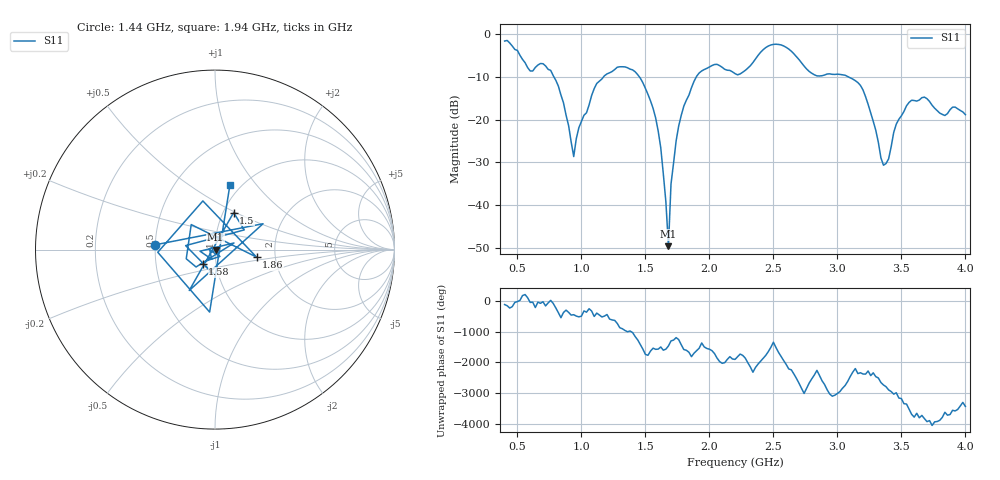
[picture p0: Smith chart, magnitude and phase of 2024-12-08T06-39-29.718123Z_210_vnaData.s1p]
!Created with skrf (http://scikit-rf.org).
# Hz S RI R 50.0
!freq ReS11 ImS11
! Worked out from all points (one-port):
!   181 points, 400 MHz to 4 GHz, reference 50 ohm
!   lowest |S11| = -49.5 dB at 1.68 GHz (marker M1), VSWR 1.01, Z = 50.3 - j0.122 ohm
!   |S11| at or under -10 dB: 784.3 MHz to 1.174 GHz (390.1 MHz wide, 39.8 % of centre); 1.452 GHz to 1.899 GHz (447.1 MHz wide, 26.7 % of centre); 3.083 GHz to end of sweep
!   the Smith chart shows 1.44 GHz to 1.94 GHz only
!   S11 on the Smith chart (normalised r, x): 1.44 GHz: 0.50, +0.03; 1.5 GHz: 1.12, +0.49; 1.58 GHz: 0.86, -0.14; 1.86 GHz: 1.59, -0.14; 1.94 GHz: 0.89, +0.74
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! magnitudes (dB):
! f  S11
! 400 MHz  -1.7
! 600 MHz  -8.7
! 760 MHz  -8.5
! 860 MHz  -16.1
! 940 MHz  -28.6
! 980 MHz  -21.9
! 1.12 GHz  -11.6
! 1.3 GHz  -7.7
! 1.44 GHz  -9.5
! 1.5 GHz  -12.7
! 1.58 GHz  -19.6
! 1.62 GHz  -26.6
! 1.66 GHz  -39.2
! 1.68 GHz  -49.5
! 1.7 GHz  -35.0
! 1.76 GHz  -21.5
! 1.86 GHz  -12.6
! 1.94 GHz  -8.7
! 2.2 GHz  -9.3
! 2.48 GHz  -2.6
! 2.66 GHz  -4.7
! 2.84 GHz  -9.8
! 3.1 GHz  -10.2
! 3.22 GHz  -14.7
! 3.36 GHz  -30.6
! 3.46 GHz  -21.1
! 3.56 GHz  -16.0
! 4 GHz  -18.9
